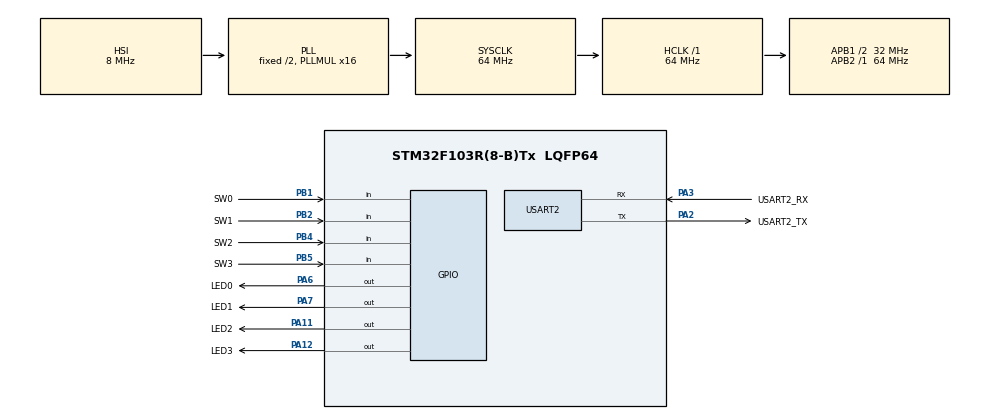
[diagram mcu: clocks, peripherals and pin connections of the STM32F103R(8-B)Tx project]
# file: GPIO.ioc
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Mcu.Family=STM32F1
Mcu.Name=STM32F103R(8-B)Tx
Mcu.Package=LQFP64
NVIC.PriorityGroup=NVIC_PRIORITYGROUP_4
PA11.GPIO_Label=LED2
PA11.PinState=GPIO_PIN_SET
PA11.Signal=GPIO_Output
PA12.GPIO_Label=LED3
PA12.PinState=GPIO_PIN_SET
PA12.Signal=GPIO_Output
PA13.Mode=Serial_Wire
PA13.Signal=SYS_JTMS-SWDIO
PA14.Mode=Serial_Wire
PA14.Signal=SYS_JTCK-SWCLK
PA2.GPIO_Label=USART2_TX
PA2.Mode=Asynchronous
PA2.Signal=USART2_TX
PA3.GPIO_Label=USART2_RX
PA3.Mode=Asynchronous
PA3.Signal=USART2_RX
PA6.GPIO_Label=LED0
PA6.PinState=GPIO_PIN_SET
PA6.Signal=GPIO_Output
PA7.GPIO_Label=LED1
PA7.PinState=GPIO_PIN_SET
PA7.Signal=GPIO_Output
PB1.GPIO_Label=SW0
PB1.Signal=GPIO_Input
PB2.GPIO_Label=SW1
PB2.Signal=GPIO_Input
PB4.GPIO_Label=SW2
PB4.Signal=GPIO_Input
PB5.GPIO_Label=SW3
PB5.Signal=GPIO_Input
ProjectManager.HeapSize=0x200
ProjectManager.StackSize=0x400
ProjectManager.TargetToolchain=STM32CubeIDE
RCC.AHBFreq_Value=64000000
RCC.APB1CLKDivider=RCC_HCLK_DIV2
RCC.APB1Freq_Value=32000000
RCC.APB1TimFreq_Value=64000000
RCC.APB2Freq_Value=64000000
RCC.APB2TimFreq_Value=64000000
RCC.HCLKFreq_Value=64000000
RCC.PLLMUL=RCC_PLL_MUL16
RCC.SYSCLKFreq_VALUE=64000000
RCC.SYSCLKSource=RCC_SYSCLKSOURCE_PLLCLK
RCC.USBFreq_Value=64000000
USART2.VirtualMode=VM_ASYNC
board=custom

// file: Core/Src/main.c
/* USER CODE BEGIN Header */
/**
  ******************************************************************************
  * @file           : main.c
  * @brief          : Main program body
  ******************************************************************************
  * @attention
  *
  * <h2><center>&copy; Copyright (c) 2020 STMicroelectronics.
  * All rights reserved.</center></h2>
  *
  * This software component is licensed by ST under BSD 3-Clause license,
  * the "License"; You may not use this file except in compliance with the
  * License. You may obtain a copy of the License at:
  *                        opensource.org/licenses/BSD-3-Clause
  *
  ******************************************************************************
  */
/* USER CODE END Header */

#include "main.h"

UART_HandleTypeDef huart2;

void SystemClock_Config(void);
static void MX_GPIO_Init(void);
static void MX_USART2_UART_Init(void);

int main(void)
{

  /* MCU Configuration--------------------------------------------------------*/

  /* Reset of all peripherals, Initializes the Flash interface and the Systick. */
  HAL_Init();

  /* Configure the system clock */
  SystemClock_Config();

  /* Initialize all configured peripherals */
  MX_GPIO_Init();
  MX_USART2_UART_Init();

  /* Infinite loop */
  /* USER CODE BEGIN WHILE */
  HAL_GPIO_WritePin (GPIOA, LED0_Pin | LED1_Pin | LED2_Pin | LED3_Pin, GPIO_PIN_RESET);

  while (1)
  {
      if (HAL_GPIO_ReadPin (SW0_GPIO_Port, SW0_Pin))
        HAL_GPIO_WritePin (LED0_GPIO_Port, LED0_Pin, GPIO_PIN_RESET);
      else
        HAL_GPIO_WritePin (LED0_GPIO_Port, LED0_Pin, GPIO_PIN_SET);

      if (HAL_GPIO_ReadPin (SW1_GPIO_Port, SW1_Pin))
        HAL_GPIO_WritePin (LED1_GPIO_Port, LED1_Pin, GPIO_PIN_RESET);
      else
        HAL_GPIO_WritePin (LED1_GPIO_Port, LED1_Pin, GPIO_PIN_SET);

      if (HAL_GPIO_ReadPin (SW2_GPIO_Port, SW2_Pin))
        HAL_GPIO_WritePin (LED2_GPIO_Port, LED2_Pin, GPIO_PIN_RESET);
      else
        HAL_GPIO_WritePin (LED2_GPIO_Port, LED2_Pin, GPIO_PIN_SET);

      if (HAL_GPIO_ReadPin (SW3_GPIO_Port, SW3_Pin))
        HAL_GPIO_WritePin (LED3_GPIO_Port, LED3_Pin, GPIO_PIN_RESET);
      else
        HAL_GPIO_WritePin (LED3_GPIO_Port, LED3_Pin, GPIO_PIN_SET);

    /* USER CODE END WHILE */

  }
}

void SystemClock_Config(void)
{
  RCC_OscInitTypeDef RCC_OscInitStruct = {0};
  RCC_ClkInitTypeDef RCC_ClkInitStruct = {0};

  /** Initializes the CPU, AHB and APB busses clocks
  */
  RCC_OscInitStruct.OscillatorType = RCC_OSCILLATORTYPE_HSI;
  RCC_OscInitStruct.HSIState = RCC_HSI_ON;
  RCC_OscInitStruct.HSICalibrationValue = RCC_HSICALIBRATION_DEFAULT;
  RCC_OscInitStruct.PLL.PLLState = RCC_PLL_ON;
  RCC_OscInitStruct.PLL.PLLSource = RCC_PLLSOURCE_HSI_DIV2;
  RCC_OscInitStruct.PLL.PLLMUL = RCC_PLL_MUL16;
  if (HAL_RCC_OscConfig(&RCC_OscInitStruct) != HAL_OK)
  {
    Error_Handler();
  }
  /** Initializes the CPU, AHB and APB busses clocks
  */
  RCC_ClkInitStruct.ClockType = RCC_CLOCKTYPE_HCLK|RCC_CLOCKTYPE_SYSCLK
                              |RCC_CLOCKTYPE_PCLK1|RCC_CLOCKTYPE_PCLK2;
  RCC_ClkInitStruct.SYSCLKSource = RCC_SYSCLKSOURCE_PLLCLK;
  RCC_ClkInitStruct.AHBCLKDivider = RCC_SYSCLK_DIV1;
  RCC_ClkInitStruct.APB1CLKDivider = RCC_HCLK_DIV2;
  RCC_ClkInitStruct.APB2CLKDivider = RCC_HCLK_DIV1;

  if (HAL_RCC_ClockConfig(&RCC_ClkInitStruct, FLASH_LATENCY_2) != HAL_OK)
  {
    Error_Handler();
  }
}

static void MX_USART2_UART_Init(void)
{

  huart2.Instance = USART2;
  huart2.Init.BaudRate = 115200;
  huart2.Init.WordLength = UART_WORDLENGTH_8B;
  huart2.Init.StopBits = UART_STOPBITS_1;
  huart2.Init.Parity = UART_PARITY_NONE;
  huart2.Init.Mode = UART_MODE_TX_RX;
  huart2.Init.HwFlowCtl = UART_HWCONTROL_NONE;
  huart2.Init.OverSampling = UART_OVERSAMPLING_16;
  if (HAL_UART_Init(&huart2) != HAL_OK)
  {
    Error_Handler();
  }

}

static void MX_GPIO_Init(void)
{
  GPIO_InitTypeDef GPIO_InitStruct = {0};

  /* GPIO Ports Clock Enable */
  __HAL_RCC_GPIOA_CLK_ENABLE();
  __HAL_RCC_GPIOB_CLK_ENABLE();

  /*Configure GPIO pin Output Level */
  HAL_GPIO_WritePin(GPIOA, LED0_Pin|LED1_Pin|LED2_Pin|LED3_Pin, GPIO_PIN_SET);

  /*Configure GPIO pins : LED0_Pin LED1_Pin LED2_Pin LED3_Pin */
  GPIO_InitStruct.Pin = LED0_Pin|LED1_Pin|LED2_Pin|LED3_Pin;
  GPIO_InitStruct.Mode = GPIO_MODE_OUTPUT_PP;
  GPIO_InitStruct.Pull = GPIO_NOPULL;
  GPIO_InitStruct.Speed = GPIO_SPEED_FREQ_LOW;
  HAL_GPIO_Init(GPIOA, &GPIO_InitStruct);

  /*Configure GPIO pins : SW0_Pin SW1_Pin SW2_Pin SW3_Pin */
  GPIO_InitStruct.Pin = SW0_Pin|SW1_Pin|SW2_Pin|SW3_Pin;
  GPIO_InitStruct.Mode = GPIO_MODE_INPUT;
  GPIO_InitStruct.Pull = GPIO_NOPULL;
  HAL_GPIO_Init(GPIOB, &GPIO_InitStruct);

}

void Error_Handler(void)
{
}

/************************ (C) COPYRIGHT STMicroelectronics *****END OF FILE****/
